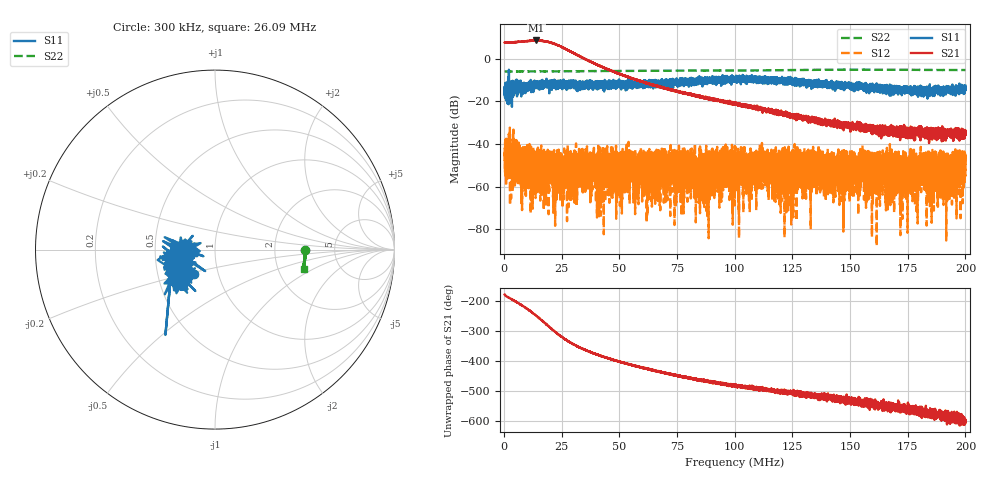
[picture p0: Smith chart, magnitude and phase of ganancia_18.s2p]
# Hz S DB R 50
! CMT, M5065, 19127446, 24.2.4/2
! Date: 11/8/2024 2:54:13 PM
! Data: Format (Calibration Info)
! Freq	S11:dB/Ang(F2)	S21:dB/Ang(F2)	S12:dB/Ang(F2)	S22:dB/Ang(F2)
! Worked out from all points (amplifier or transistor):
!   9000 points, 300 kHz to 200 MHz, reference 50 ohm
!   highest |S21| = 8.5 dB at 14.08 MHz (marker M1)
!   |S21| within 3 dB of that: start of sweep to 24.91 MHz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
!   unconditionally stable (mu >= 1): start of sweep to end of sweep
!   at 33.59 MHz: K = 110.02, MAG = 2.3 dB, |S12| = -50.7 dB
!   at 100.2 MHz: K = 835.72, MAG = -19.5 dB, |S12| = -46.8 dB
!   at 200 MHz: K = 5945.69, MAG = -33.9 dB, |S12| = -49.3 dB
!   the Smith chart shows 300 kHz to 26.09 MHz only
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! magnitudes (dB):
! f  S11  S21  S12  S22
! 300 kHz  -14.9  7.5  -48.0  -6.0
! 1.942 MHz  -14.9  7.5  -38.6  -6.0
! 7.889 MHz  -11.8  8.0  -58.2  -6.0
! 14.08 MHz  -10.7  8.5  -60.4  -6.0
! 21.85 MHz  -12.3  6.9  -53.7  -6.0
! 23.91 MHz  -11.9  6.0  -56.3  -6.0
! 29.66 MHz  -12.8  2.8  -62.1  -5.9
! 33.59 MHz  -12.5  0.7  -50.7  -5.9
! 66.87 MHz  -12.0  -13.0  -47.8  -5.7
! 78.92 MHz  -11.4  -16.3  -52.8  -5.6
! 84.07 MHz  -12.1  -17.3  -55.3  -5.6
! 97.25 MHz  -8.6  -20.1  -46.4  -5.6
! 100.2 MHz  -10.0  -21.4  -46.8  -5.5
! 133.4 MHz  -10.9  -28.9  -54.0  -5.3
! 152.9 MHz  -12.3  -32.5  -51.4  -5.2
! 155.4 MHz  -12.8  -31.5  -40.6  -5.2
! 157.3 MHz  -14.9  -31.4  -46.1  -5.2
! 166.7 MHz  -13.6  -32.1  -44.3  -5.2
! 192.1 MHz  -15.1  -33.2  -54.6  -5.3
! 196.2 MHz  -15.4  -35.3  -74.9  -5.3
! 198.2 MHz  -13.7  -36.4  -46.6  -5.4
! 200 MHz  -12.6  -35.7  -49.3  -5.3
